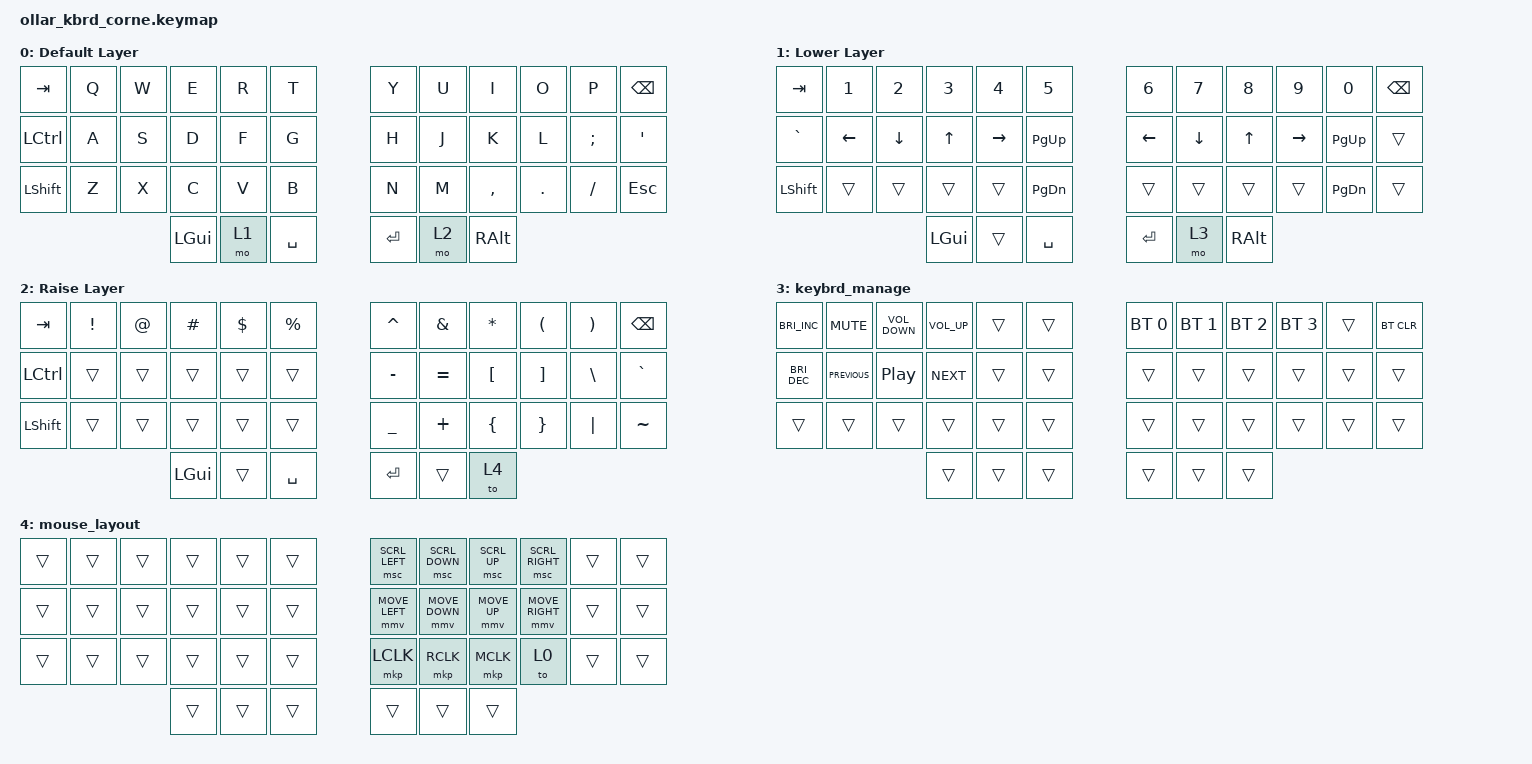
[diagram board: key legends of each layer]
/*
 * Copyright (c) 2020 The ZMK Contributors
 *
 * SPDX-License-Identifier: MIT
 */

#include <behaviors.dtsi>
#include <dt-bindings/zmk/bt.h>
#include <dt-bindings/zmk/keys.h>

#define ZMK_POINTING_DEFAULT_MOVE_VAL 1500  // default: 600
#define ZMK_POINTING_DEFAULT_SCRL_VAL -30    // default: 10

#include <dt-bindings/zmk/pointing.h>

/ {
    keymap {
        compatible = "zmk,keymap";

        default_layer {
            display-name = "Default Layer";

            // -----------------------------------------------------------------------------------------
            // |  TAB |  Q  |  W  |  E  |  R  |  T  |   |  Y  |  U   |  I  |  O  |  P  | BSPC |
            // | CTRL |  A  |  S  |  D  |  F  |  G  |   |  H  |  J   |  K  |  L  |  ;  |  '   |
            // | SHFT |  Z  |  X  |  C  |  V  |  B  |   |  N  |  M   |  ,  |  .  |  /  | ESC  |
            //                    | GUI | LWR | SPC |   | ENT | RSE  | ALT |

            bindings = <
&kp TAB    &kp Q  &kp W  &kp E     &kp R  &kp T        &kp Y    &kp U  &kp I      &kp O    &kp P     &kp BSPC
&kp LCTRL  &kp A  &kp S  &kp D     &kp F  &kp G        &kp H    &kp J  &kp K      &kp L    &kp SEMI  &kp SQT
&kp LSHFT  &kp Z  &kp X  &kp C     &kp V  &kp B        &kp N    &kp M  &kp COMMA  &kp DOT  &kp FSLH  &kp ESC
                         &kp LGUI  &mo 1  &kp SPACE    &kp RET  &mo 2  &kp RALT
            >;
        };

        lower_layer {
            display-name = "Lower Layer";

            // -----------------------------------------------------------------------------------------
            // |  TAB |  1  |  2  |  3  |  4  |  5  |   |  6  |  7  |  8  |  9  |  0  | BSPC |
            // | BTCLR| BT1 | BT2 | BT3 | BT4 | BT5 |   | LFT | DWN |  UP | RGT |     |      |
            // | SHFT |     |     |     |     |     |   |     |     |     |     |     |      |
            //                    | GUI |     | SPC |   | ENT |     | ALT |

            bindings = <
&kp TAB    &kp N1    &kp N2          &kp N3        &kp N4           &kp N5           &kp N6    &kp N7    &kp N8    &kp N9     &kp N0         &kp BSPC
&kp GRAVE  &kp LEFT  &kp DOWN_ARROW  &kp UP_ARROW  &kp RIGHT_ARROW  &kp PAGE_UP      &kp LEFT  &kp DOWN  &kp UP    &kp RIGHT  &kp PAGE_UP    &trans
&kp LSHFT  &trans    &trans          &trans        &trans           &kp PAGE_DOWN    &trans    &trans    &trans    &trans     &kp PAGE_DOWN  &trans
                                     &kp LGUI      &trans           &kp SPACE        &kp RET   &mo 3     &kp RALT
            >;
        };

        raise_layer {
            display-name = "Raise Layer";

            // -----------------------------------------------------------------------------------------
            // |  TAB |  !  |  @  |  #  |  $  |  %  |   |  ^  |  &  |  *  |  (  |  )  | BSPC |
            // | CTRL |     |     |     |     |     |   |  -  |  =  |  [  |  ]  |  \  |  `   |
            // | SHFT |     |     |     |     |     |   |  _  |  +  |  {  |  }  | "|" |  ~   |
            //                    | GUI |     | SPC |   | ENT |     | ALT |

            bindings = <
&kp TAB    &kp EXCL  &kp AT  &kp HASH  &kp DLLR  &kp PRCNT    &kp CARET  &kp AMPS   &kp ASTRK  &kp LPAR  &kp RPAR  &kp BSPC
&kp LCTRL  &trans    &trans  &trans    &trans    &trans       &kp MINUS  &kp EQUAL  &kp LBKT   &kp RBKT  &kp BSLH  &kp GRAVE
&kp LSHFT  &trans    &trans  &trans    &trans    &trans       &kp UNDER  &kp PLUS   &kp LBRC   &kp RBRC  &kp PIPE  &kp TILDE
                             &kp LGUI  &trans    &kp SPACE    &kp RET    &trans     &to 4
            >;
        };

        keybrd_manage {
            bindings = <
&kp C_BRIGHTNESS_INC  &kp K_MUTE      &kp C_VOLUME_DOWN  &kp C_VOLUME_UP  &trans  &trans    &bt BT_SEL 0  &bt BT_SEL 1  &bt BT_SEL 2  &bt BT_SEL 3  &trans  &bt BT_CLR
&kp C_BRIGHTNESS_DEC  &kp C_PREVIOUS  &kp C_PLAY_PAUSE   &kp C_NEXT       &trans  &trans    &trans        &trans        &trans        &trans        &trans  &trans
&trans                &trans          &trans             &trans           &trans  &trans    &trans        &trans        &trans        &trans        &trans  &trans
                                                         &trans           &trans  &trans    &trans        &trans        &trans
            >;
        };

        mouse_layout {
            bindings = <
&trans  &trans  &trans  &trans  &trans  &trans    &msc SCRL_LEFT  &msc SCRL_DOWN  &msc SCRL_UP  &msc SCRL_RIGHT  &trans  &trans
&trans  &trans  &trans  &trans  &trans  &trans    &mmv MOVE_LEFT  &mmv MOVE_DOWN  &mmv MOVE_UP  &mmv MOVE_RIGHT  &trans  &trans
&trans  &trans  &trans  &trans  &trans  &trans    &mkp LCLK       &mkp RCLK       &mkp MCLK     &to 0            &trans  &trans
                        &trans  &trans  &trans    &trans          &trans          &trans
            >;
        };
    };
};
